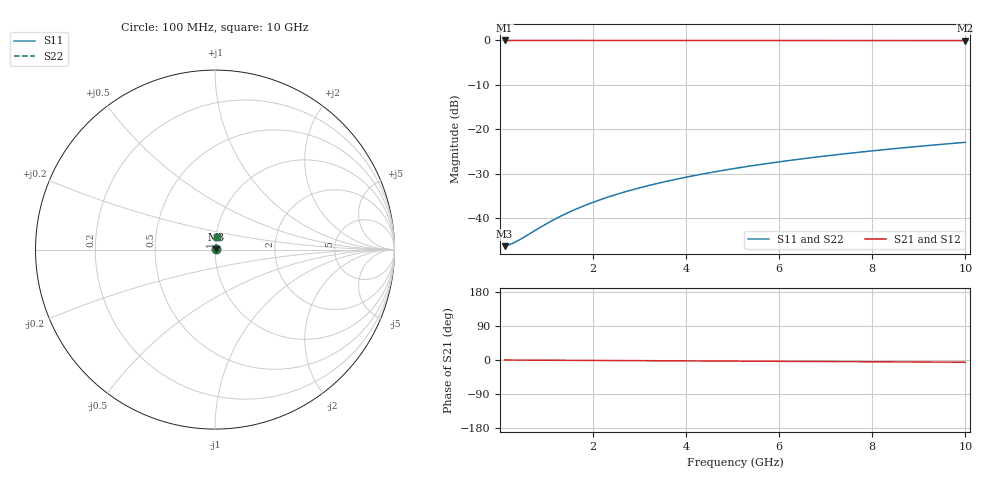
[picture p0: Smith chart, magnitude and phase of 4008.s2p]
# Hz S RI R 50.00
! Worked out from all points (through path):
!   100 points, 100 MHz to 10 GHz, reference 50 ohm
!   highest |S21| = -0.04 dB at 100 MHz (marker M1); lowest = -0.1 dB at 10 GHz (marker M2)
!   lowest |S11| = -46.2 dB at 100 MHz (marker M3), VSWR 1.01, Z = 50.5 + j0.0717 ohm
!   |S11| at or under -10 dB: start of sweep to end of sweep
!   |S22| runs from -46.2 to -22.9 dB; largest |S21 - S12| = 0
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1e8  0.00483 0.00071  0.9952 -0.00101  0.9952 -0.00101  0.00483 0.00071
2e8  0.00487 0.00142  0.9951 -0.00202  0.9951 -0.00202  0.00487 0.00142
3e8  0.00489 0.00213  0.9951 -0.00304  0.9951 -0.00304  0.00489 0.00213
4e8  0.00492 0.00284  0.9951 -0.00405  0.9951 -0.00405  0.00492 0.00284
1e9  0.00505 0.0071  0.9949 -0.0101  0.9949 -0.0101  0.00505 0.0071
1.3e9  0.00513 0.00923  0.9949 -0.0132  0.9949 -0.0132  0.00513 0.00923
1.5e9  0.00519 0.0107  0.9948 -0.0152  0.9948 -0.0152  0.00519 0.0107
1.8e9  0.00528 0.0128  0.9947 -0.0182  0.9947 -0.0182  0.00528 0.0128
2.1e9  0.00538 0.0149  0.9946 -0.0212  0.9946 -0.0212  0.00538 0.0149
2.5e9  0.00554 0.0177  0.9944 -0.0253  0.9944 -0.0253  0.00554 0.0177
2.9e9  0.00571 0.0206  0.9942 -0.0293  0.9942 -0.0293  0.00571 0.0206
3.4e9  0.00596 0.0241  0.994 -0.0344  0.994 -0.0344  0.00596 0.0241
3.8e9  0.00619 0.0269  0.9937 -0.0384  0.9937 -0.0384  0.00619 0.0269
4.2e9  0.00644 0.0298  0.9935 -0.0425  0.9935 -0.0425  0.00644 0.0298
4.6e9  0.00671 0.0326  0.9932 -0.0465  0.9932 -0.0465  0.00671 0.0326
5.1e9  0.00707 0.0361  0.9928 -0.0515  0.9928 -0.0515  0.00707 0.0361
5.9e9  0.00774 0.0418  0.9921 -0.0596  0.9921 -0.0596  0.00774 0.0418
6.7e9  0.00849 0.0474  0.9913 -0.0676  0.9913 -0.0676  0.00849 0.0474
7.5e9  0.00934 0.053  0.9904 -0.0757  0.9904 -0.0757  0.00934 0.053
8.4e9  0.0104 0.0593  0.9893 -0.0847  0.9893 -0.0847  0.0104 0.0593
9.2e9  0.0114 0.0649  0.9882 -0.0927  0.9882 -0.0927  0.0114 0.0649
1e10  0.0126 0.0704  0.987 -0.1007  0.987 -0.1007  0.0126 0.0704
